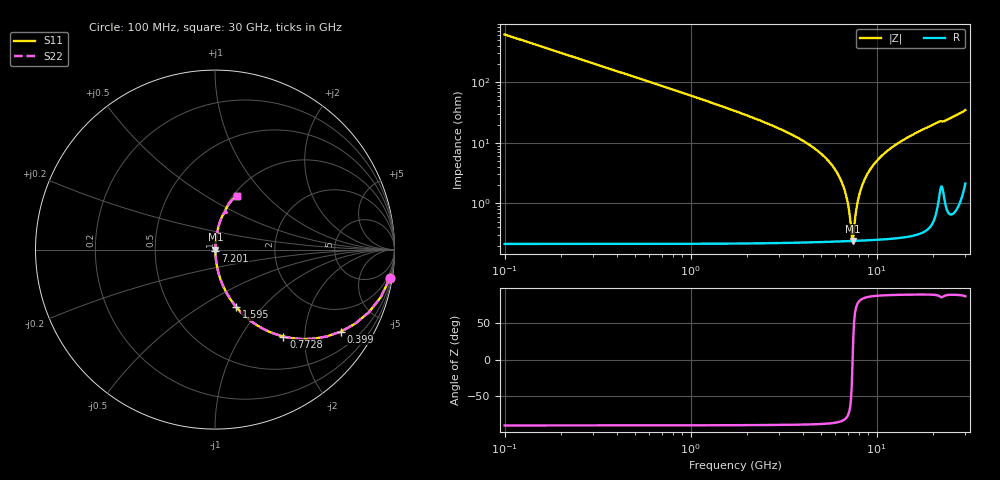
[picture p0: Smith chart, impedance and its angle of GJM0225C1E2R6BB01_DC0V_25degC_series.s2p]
!Murata Part Number: GJM0225C1E2R6BB01
!These Parameters are Measured in Series Mode Connection
!  o--ll--o
!Port1  Port2
!  o------o
!Operation Temp=25[degC], DC Bias Voltage=0[V]
!Freq. Start=100[MHz] Stop=30[GHz], 401[Steps]
!Data Generated on Feb 1, 2023
# Hz S RI R 50
!Freq.(Hz) S11(Real) S11(Imag) S21(Real) S21(Imag) S12(Real) S12(Imag) S22(Real) S22(Imag)
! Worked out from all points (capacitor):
!   401 points, 100 MHz to 30 GHz, reference 50 ohm
!   read as one part in series: C = 2.6 pF near 249.5 MHz
!   lowest |Z| = 239 mohm at 7.426 GHz (marker M1)
!   series resonance near 7.428 GHz, so ESL is about 180 pH
!   S11 on the Smith chart (normalised r, x): 100 MHz: 1, -12; 399 MHz: 1.00, -3.06; 772.8 MHz: 1.00, -1.57; 1.595 GHz: 1.00, -0.73; 7.201 GHz: 1.00, -0.01; 30 GHz: 1.04, +0.69
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1e8  0.9739 -0.1591  0.0261 0.1591  0.0261 0.1591  0.9739 -0.1591
3.99e8  0.7004 -0.4574  0.2996 0.4574  0.2996 0.4574  0.7004 -0.4574
7.7275e8  0.3807 -0.4842  0.6193 0.4842  0.6193 0.4842  0.3807 -0.4842
1.1465e9  0.2146 -0.4085  0.7854 0.4085  0.7854 0.4085  0.2146 -0.4085
1.595e9  0.1196 -0.3216  0.8804 0.3216  0.8804 0.3216  0.1196 -0.3216
2.9405e9  0.0319 -0.1696  0.9681 0.1696  0.9681 0.1696  0.0319 -0.1696
5.10825e9  0.00624 -0.0626  0.9938 0.0626  0.9938 0.0626  0.00624 -0.0626
5.9305e9  0.00372 -0.0372  0.9963 0.0372  0.9963 0.0372  0.00372 -0.0372
6.5285e9  0.00281 -0.0212  0.9972 0.0212  0.9972 0.0212  0.00281 -0.0212
6.90225e9  0.00251 -0.0121  0.9975 0.0121  0.9975 0.0121  0.00251 -0.0121
7.20125e9  0.00241 -0.00509  0.9976 0.00509  0.9976 0.00509  0.00241 -0.00509
7.4255e9  0.00239 -5.04e-05  0.9976 5.04e-05  0.9976 5.04e-05  0.00239 -5.04e-05
7.575e9  0.00241 0.00322  0.9976 -0.00322  0.9976 -0.00322  0.00241 0.00322
7.94875e9  0.00253 0.0111  0.9975 -0.0111  0.9975 -0.0111  0.00253 0.0111
8.3225e9  0.00278 0.0187  0.9972 -0.0187  0.9972 -0.0187  0.00278 0.0187
9.07e9  0.00355 0.033  0.9965 -0.033  0.9965 -0.033  0.00355 0.033
1.01165e10  0.00517 0.0515  0.9948 -0.0515  0.9948 -0.0515  0.00517 0.0515
1.213475e10  0.00967 0.0836  0.9903 -0.0836  0.9903 -0.0836  0.00967 0.0836
1.505e10  0.0187 0.1249  0.9813 -0.1249  0.9813 -0.1249  0.0187 0.1249
2.005825e10  0.0422 0.1894  0.9578 -0.1894  0.9578 -0.1894  0.0422 0.1894
2.50665e10  0.0678 0.2391  0.9322 -0.2391  0.9322 -0.2391  0.0678 0.2391
3e10  0.121 0.2967  0.879 -0.2967  0.879 -0.2967  0.121 0.2967
